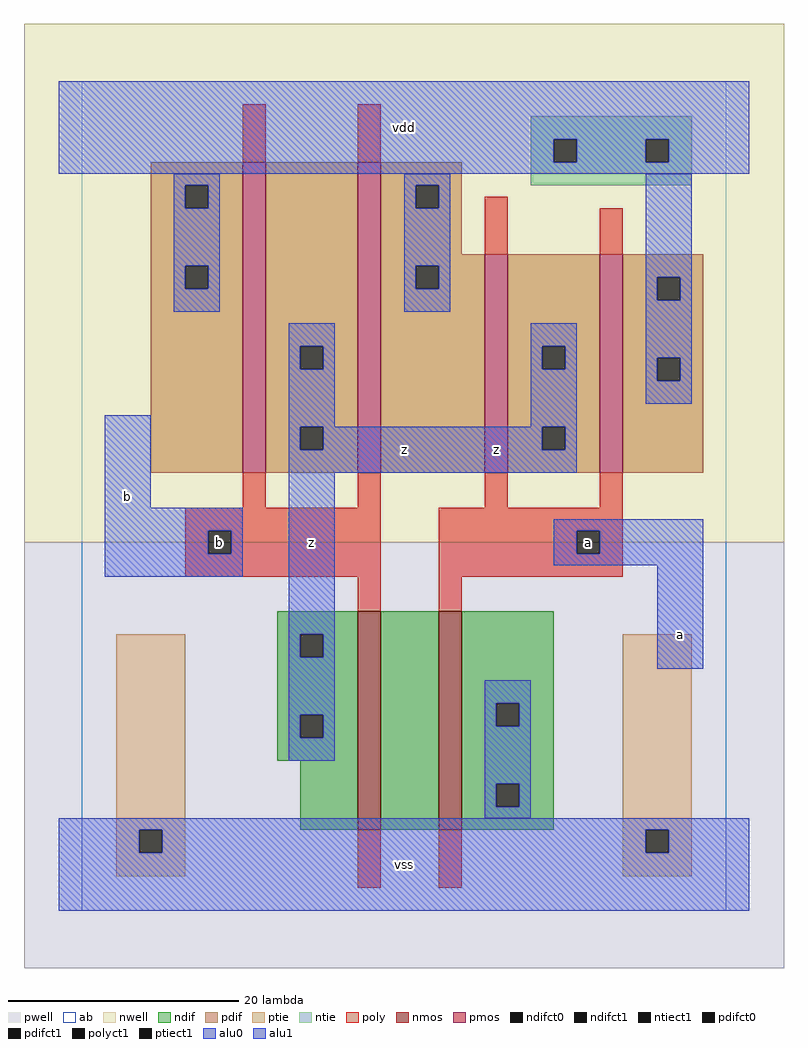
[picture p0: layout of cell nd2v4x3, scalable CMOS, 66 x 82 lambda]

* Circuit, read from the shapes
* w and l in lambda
.subckt nd2v4x3 a b vdd vss z
M1 n1 b z vss nfet w=19 l=2
M2 vss a n1 vss nfet w=19 l=2
M3 z b vdd vdd pfet w=27 l=2 m=2
M4 z a vdd vdd pfet w=19 l=2 m=2
.ends

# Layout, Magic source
magic
tech scmos
<< ab >>
rect 0 0 56 72
<< nwell >>
rect -5 32 61 77
<< pwell >>
rect -5 -5 61 32
<< poly >>
rect 14 65 16 70
rect 24 65 26 70
rect 35 57 37 62
rect 45 57 47 61
rect 14 35 16 38
rect 24 35 26 38
rect 35 35 37 38
rect 45 35 47 38
rect 9 33 26 35
rect 9 31 11 33
rect 13 31 26 33
rect 9 29 26 31
rect 24 26 26 29
rect 31 33 47 35
rect 31 31 43 33
rect 45 31 47 33
rect 31 29 47 31
rect 31 26 33 29
rect 24 2 26 7
rect 31 2 33 7
<< ndif >>
rect 17 24 24 26
rect 17 22 19 24
rect 21 22 24 24
rect 17 17 24 22
rect 17 15 19 17
rect 21 15 24 17
rect 17 13 24 15
rect 19 7 24 13
rect 26 7 31 26
rect 33 18 41 26
rect 33 16 36 18
rect 38 16 41 18
rect 33 11 41 16
rect 33 9 36 11
rect 38 9 41 11
rect 33 7 41 9
<< pdif >>
rect 6 63 14 65
rect 6 61 9 63
rect 11 61 14 63
rect 6 56 14 61
rect 6 54 9 56
rect 11 54 14 56
rect 6 38 14 54
rect 16 49 24 65
rect 16 47 19 49
rect 21 47 24 49
rect 16 42 24 47
rect 16 40 19 42
rect 21 40 24 42
rect 16 38 24 40
rect 26 63 33 65
rect 26 61 29 63
rect 31 61 33 63
rect 26 57 33 61
rect 26 56 35 57
rect 26 54 29 56
rect 31 54 35 56
rect 26 38 35 54
rect 37 49 45 57
rect 37 47 40 49
rect 42 47 45 49
rect 37 42 45 47
rect 37 40 40 42
rect 42 40 45 42
rect 37 38 45 40
rect 47 55 54 57
rect 47 53 50 55
rect 52 53 54 55
rect 47 48 54 53
rect 47 46 50 48
rect 52 46 54 48
rect 47 38 54 46
<< alu1 >>
rect -2 67 58 72
rect -2 65 41 67
rect 43 65 49 67
rect 51 65 58 67
rect -2 64 58 65
rect 18 49 22 51
rect 18 47 19 49
rect 21 47 22 49
rect 2 35 6 43
rect 18 42 22 47
rect 39 49 43 51
rect 39 47 40 49
rect 42 47 43 49
rect 39 42 43 47
rect 18 40 19 42
rect 21 40 40 42
rect 42 40 43 42
rect 18 38 43 40
rect 2 33 14 35
rect 2 31 11 33
rect 13 31 14 33
rect 2 29 14 31
rect 18 24 22 38
rect 41 33 54 34
rect 41 31 43 33
rect 45 31 54 33
rect 41 30 54 31
rect 18 22 19 24
rect 21 22 22 24
rect 18 17 22 22
rect 50 21 54 30
rect 18 15 19 17
rect 21 15 22 17
rect 18 13 22 15
rect -2 7 58 8
rect -2 5 5 7
rect 7 5 49 7
rect 51 5 58 7
rect -2 0 58 5
<< ptie >>
rect 3 7 9 24
rect 47 7 53 24
rect 3 5 5 7
rect 7 5 9 7
rect 3 3 9 5
rect 47 5 49 7
rect 51 5 53 7
rect 47 3 53 5
<< ntie >>
rect 39 67 53 69
rect 39 65 41 67
rect 43 65 49 67
rect 51 65 53 67
rect 39 63 53 65
<< nmos >>
rect 24 7 26 26
rect 31 7 33 26
<< pmos >>
rect 14 38 16 65
rect 24 38 26 65
rect 35 38 37 57
rect 45 38 47 57
<< polyct1 >>
rect 11 31 13 33
rect 43 31 45 33
<< ndifct0 >>
rect 36 16 38 18
rect 36 9 38 11
<< ndifct1 >>
rect 19 22 21 24
rect 19 15 21 17
<< ntiect1 >>
rect 41 65 43 67
rect 49 65 51 67
<< ptiect1 >>
rect 5 5 7 7
rect 49 5 51 7
<< pdifct0 >>
rect 9 61 11 63
rect 9 54 11 56
rect 29 61 31 63
rect 29 54 31 56
rect 50 53 52 55
rect 50 46 52 48
<< pdifct1 >>
rect 19 47 21 49
rect 19 40 21 42
rect 40 47 42 49
rect 40 40 42 42
<< alu0 >>
rect 8 63 12 64
rect 8 61 9 63
rect 11 61 12 63
rect 8 56 12 61
rect 8 54 9 56
rect 11 54 12 56
rect 8 52 12 54
rect 28 63 32 64
rect 28 61 29 63
rect 31 61 32 63
rect 28 56 32 61
rect 28 54 29 56
rect 31 54 32 56
rect 28 52 32 54
rect 49 55 53 64
rect 49 53 50 55
rect 52 53 53 55
rect 49 48 53 53
rect 49 46 50 48
rect 52 46 53 48
rect 49 44 53 46
rect 35 18 39 20
rect 35 16 36 18
rect 38 16 39 18
rect 35 11 39 16
rect 35 9 36 11
rect 38 9 39 11
rect 35 8 39 9
<< labels >>
rlabel alu1 4 36 4 36 6 b
rlabel polyct1 12 32 12 32 6 b
rlabel alu1 20 32 20 32 6 z
rlabel alu1 28 4 28 4 6 vss
rlabel alu1 36 40 36 40 6 z
rlabel alu1 28 40 28 40 6 z
rlabel alu1 28 68 28 68 6 vdd
rlabel polyct1 44 32 44 32 6 a
rlabel alu1 52 24 52 24 6 a
<< end >>
